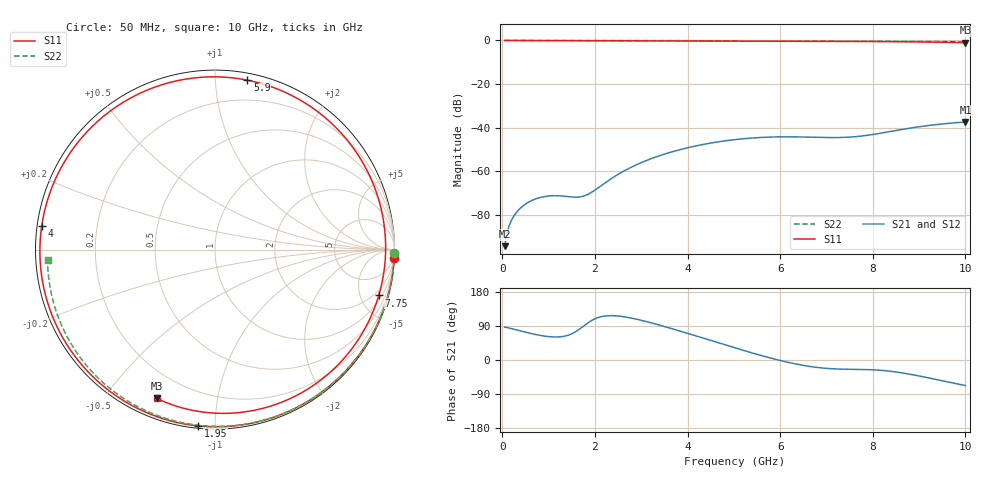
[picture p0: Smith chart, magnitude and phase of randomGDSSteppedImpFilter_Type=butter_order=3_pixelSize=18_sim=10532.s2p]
! freq	dB(S11)	phase(S11)	dB(S12)	phase(S12)
!  dB(S21)	phase(S21)	dB(S22)	phase(S22)
!S-par simulation data
#  GHz  S  DB  R 50
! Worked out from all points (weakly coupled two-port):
!   200 points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, 50 MHz to 10 GHz, reference 50 ohm
!   highest |S21| = -37.35 dB at 10 GHz (marker M1); lowest = -94.2 dB at 50 MHz (marker M2)
!   lowest |S11| = -1.0 dB at 10 GHz (marker M3), VSWR 17.27, Z = 4.24 - j33.9 ohm
!   |S11| at or under -10 dB: nowhere
!   |S22| runs from -0.6 to 0.0 dB; largest |S21 - S12| = 0
!   S11 on the Smith chart (normalised r, x): 50 MHz: 0, -45; 1.95 GHz: 0.01, -0.91; 4 GHz: 0.01, +0.07; 5.9 GHz: 0.05, +1.21; 7.75 GHz: 1.40, -7.01; 10 GHz: 0.08, -0.68
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0.05  -0.00 -2.5  -94.22 86.8  -94.22 86.8  -0.00 -1.0
0.25  -0.02 -12.8  -80.44 81.3  -80.44 81.3  -0.01 -5.0
0.5  -0.04 -25.4  -74.95 73.4  -74.95 73.4  -0.01 -10.0
0.85  -0.06 -42.9  -71.76 64.2  -71.76 64.2  -0.02 -16.9
1.3  -0.08 -64.9  -71.25 61.9  -71.25 61.9  -0.03 -25.8
1.75  -0.11 -86.2  -71.32 89.0  -71.32 89.0  -0.04 -34.5
1.95  -0.11 -95.5  -69.23 105.6  -69.23 105.6  -0.05 -38.3
2.6  -0.15 -125.1  -60.10 114.6  -60.10 114.6  -0.06 -50.6
3.4  -0.19 -160.7  -52.75 91.9  -52.75 91.9  -0.09 -65.3
4  -0.22 172.3  -49.16 70.4  -49.16 70.4  -0.10 -76.1
4.5  -0.26 149.1  -47.00 51.6  -47.00 51.6  -0.12 -84.8
5.05  -0.29 122.5  -45.35 31.1  -45.35 31.1  -0.14 -94.2
5.5  -0.32 99.9  -44.54 14.9  -44.54 14.9  -0.17 -101.7
5.9  -0.34 79.2  -44.19 1.8  -44.19 1.8  -0.19 -108.3
6.3  -0.37 58.3  -44.15 -9.5  -44.15 -9.5  -0.21 -114.9
6.7  -0.39 37.3  -44.32 -18.0  -44.32 -18.0  -0.24 -121.4
7.2  -0.42 11.6  -44.48 -23.6  -44.48 -23.6  -0.27 -129.5
7.75  -0.47 -15.6  -43.80 -24.9  -43.80 -24.9  -0.32 -138.4
8.35  -0.55 -43.5  -41.81 -29.3  -41.81 -29.3  -0.38 -148.2
8.75  -0.62 -61.1  -40.34 -36.4  -40.34 -36.4  -0.42 -154.8
9.15  -0.72 -77.8  -39.09 -45.8  -39.09 -45.8  -0.47 -161.6
10  -1.01 -111.4  -37.35 -67.5  -37.35 -67.5  -0.59 -176.5
